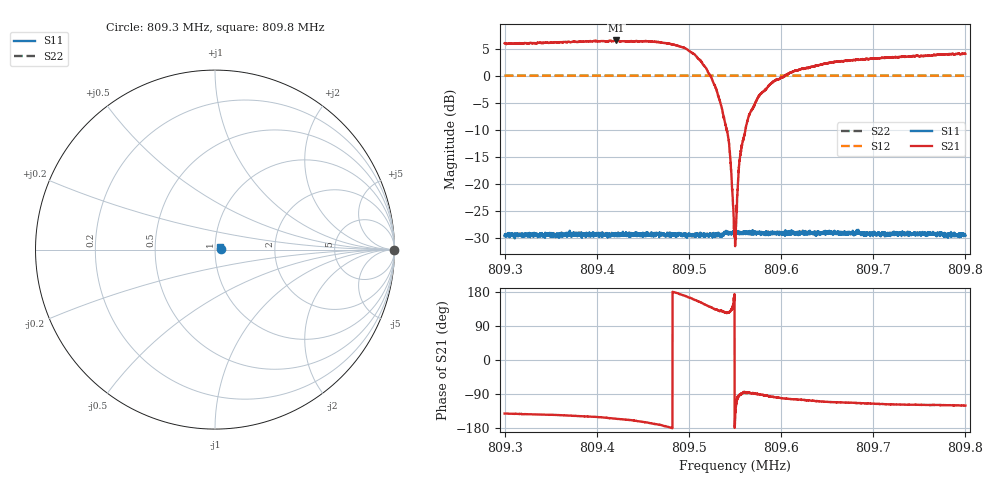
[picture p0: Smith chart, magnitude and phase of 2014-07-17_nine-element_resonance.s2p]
! Anritsu VNA Master:  Model: MS2034B
! SN:  1324090
! /card0/usr/3x3-809p55mhz.s2p
! Existing Calibration Information:
! TYPE:  Current Settings,  Active Cal Settings
! TIME:  07/17/2014 10:10:50 AM,  05/16/2014 07:31:05 AM
! INTERNAL TEMP:  46.0 C,  49.0 C
! # POINTS:  4001,  401
! START FREQ:  809.300 MHz,  500.000 kHz
! STOP FREQ:  809.800 MHz,  4.000 GHz
! SOURCE POWER:  Low,  High
! IFBW:  100 Hz,  100 Hz
! AVG FACTOR:  1 ,  1
! REF PLANE 1:  18.7717 m,  0 mm
! REF PLANE 2:  0 mm,  0 mm
! CAL TYPE:  Response S21,  Response S21
! CAL METHOD:  SOLT,  SOLT
! CAL LINE TYPE:  Coax,  Coax
! DUT PORT 1:  SMA(F),  SMA(F)
! DUT PORT 2:  N-Conn(M),  N-Conn(M)
! CAL STATUS:  OFF,  --
# GHZ S MA R 50.0
! FREQ.GHZ  S11M  S11A  S21M  S21A  S12M  S12A  S22M  S22A
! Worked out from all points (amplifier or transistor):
!   4001 points, 809.3 MHz to 809.8 MHz, reference 50 ohm
!   highest |S21| = 6.5 dB at 809.4212 MHz (marker M1)
!   |S21| within 3 dB of that: start of sweep to 809.5083 MHz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
!   unconditionally stable (mu >= 1): nowhere
!   at 809.3832 MHz: K = 1.07, MSG = 3.2 dB, |S12| = 0.0 dB
!   at 809.55 MHz: K = 0.05, MSG = -14.9 dB, |S12| = 0.0 dB
!   at 809.8 MHz: K = 0.82, MSG = 2.0 dB, |S12| = 0.0 dB
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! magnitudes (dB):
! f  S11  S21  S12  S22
! 809.3 MHz  -29.7  6.0  0.0  0.0
! 809.3834 MHz  -29.5  6.3  0.0  0.0
! 809.4212 MHz  -29.4  6.5  0.0  0.0
! 809.4668 MHz  -29.5  6.2  0.0  0.0
! 809.505 MHz  -29.4  4.1  0.0  0.0
! 809.5175 MHz  -29.8  1.6  0.0  0.0
! 809.5263 MHz  -29.2  -1.2  0.0  0.0
! 809.5339 MHz  -29.4  -4.9  0.0  0.0
! 809.5419 MHz  -29.0  -10.7  0.0  0.0
! 809.5448 MHz  -29.1  -14.9  0.0  0.0
! 809.5485 MHz  -28.8  -26.2  0.0  0.0
! 809.55 MHz  -29.3  -29.8  0.0  0.0
! 809.5512 MHz  -29.2  -26.9  0.0  0.0
! 809.5543 MHz  -29.0  -17.0  0.0  0.0
! 809.5564 MHz  -29.2  -13.9  0.0  0.0
! 809.5629 MHz  -29.0  -8.6  0.0  0.0
! 809.5669 MHz  -29.4  -6.8  0.0  0.0
! 809.5765 MHz  -28.9  -3.6  0.0  0.0
! 809.5905 MHz  -29.4  -1.3  0.0  0.0
! 809.6334 MHz  -29.0  1.6  0.0  0.0
! 809.7168 MHz  -29.3  3.3  0.0  0.0
! 809.8 MHz  -29.6  4.1  0.0  0.0
